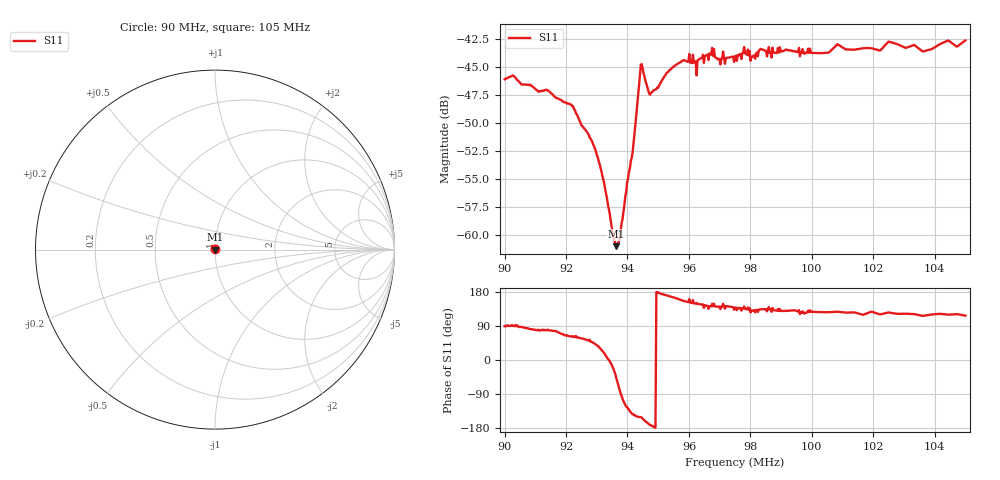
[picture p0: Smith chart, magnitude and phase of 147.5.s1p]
# HZ S RI R 50
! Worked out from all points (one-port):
!   505 points, 90 MHz to 105 MHz, reference 50 ohm
!   lowest |S11| = -61.0 dB at 93.63 MHz (marker M1), VSWR 1.00, Z = 50.1 - j0.0641 ohm
!   |S11| at or under -10 dB: start of sweep to end of sweep
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9e7  7.46e-05 0.00498
9.029762e7  -3.07e-06 0.00515
9.187501e7  0.00148 0.00371
9.223215e7  0.00181 0.0033
9.291668e7  0.0018 0.00172
9.318453e7  0.00168 0.000743
9.354168e7  0.0009 -0.000384
9.363096e7  0.000625 -0.00064
9.375001e7  0.000167 -0.000962
9.416668e7  -0.00187 -0.00142
9.443454e7  -0.00505 -0.00282
9.449406e7  -0.00503 -0.00235
9.476192e7  -0.00427 -0.000567
9.562502e7  -0.00554 0.00183
9.607145e7  -0.00515 0.00287
9.622026e7  -0.00512 0.0031
9.675597e7  -0.00588 0.00358
9.696431e7  -0.00477 0.00388
9.750002e7  -0.00473 0.00418
9.836312e7  -0.00472 0.00488
9.937503e7  -0.00432 0.00505
1.008631e8  -0.00429 0.00565
1.0125e8  -0.0039 0.00552
1.022024e8  -0.00343 0.00574
1.025298e8  -0.0042 0.00599
1.03125e8  -0.00367 0.00587
1.036608e8  -0.00302 0.00593
1.05e8  -0.00337 0.00661
